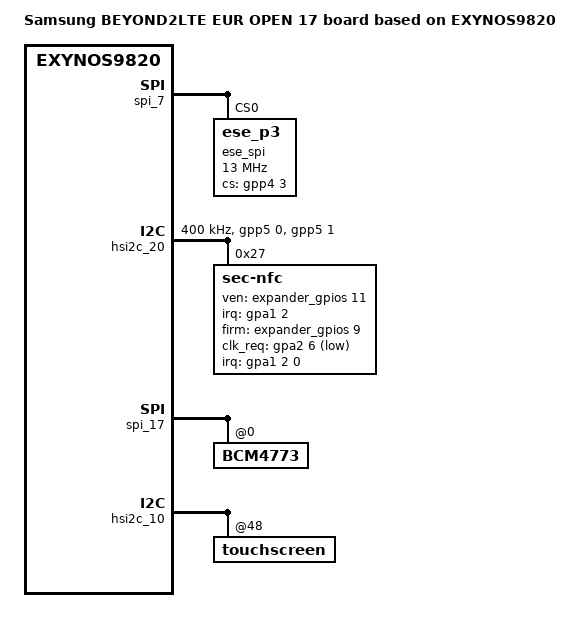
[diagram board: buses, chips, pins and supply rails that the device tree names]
/*
 * SAMSUNG EXYNOS9820 board device tree source
 *
 * Copyright (c) 2018 Samsung Electronics Co., Ltd.
 *		http://www.samsung.com
 *
 * This program is free software; you can redistribute it and/or modify
 * it under the terms of the GNU General Public License version 2 as
 * published by the Free Software Foundation.
*/

/dts-v1/;
/plugin/;
#include "exynos9820-sensorhub.dtsi"
#include "exynos9820-display-lcd.dtsi"
#include "battery_data_beyond2lte_3500mah.dtsi"
#include "exynos9820-beyond2lte_if-pmic-max77705.dtsi"
#include <dt-bindings/clock/exynos9820.h>
#include <dt-bindings/pci/pci.h>
#include "exynos9820-beyond2lte_camera.dtsi"
#include "exynos9820_evt0-beyond2lte_common.dtsi"
#include "exynos9820-beyond2lte_fingerprint_00.dtsi"
#include "exynos9820-beyond2lte_motor.dtsi"
#include "exynos9820-beyond2lte_optics-r03.dtsi"

/ {
	compatible = "samsung,BEYOND2LTE EUR OPEN 17", "samsung,EXYNOS9820";
	dtbo-hw_rev = <17>;
   	dtbo-hw_rev_end = <255>;

	fragment@model {
		target-path = "/";
		__overlay__ {
			#address-cells = <2>;
			#size-cells = <1>;

			model = "Samsung BEYOND2LTE EUR OPEN 17 board based on EXYNOS9820";

		}; /* end of __overlay__ */
	}; /* end of fragment */
}; /* end of root */

&pinctrl_0 {
	dp_hpd: dp_hpd {
		samsung,pins = "gpa2-7";
		samsung,pin-function = <2>; 
		samsung,pin-pud = <0>; 
		};
};  

&displayport {
	pinctrl-names = "default";
	pinctrl-0 = <&dp_hpd>;
};

&pinctrl_6 {
	spi7_bus_suspend: spi7-bus-suspend {
		samsung,pins = "gpp4-2", "gpp4-1", "gpp4-0";
		samsung,pin-function = <0>;	/* INPUT */
		samsung,pin-pud = <1>;		/* DOWN */
		samsung,pin-drv = <0>;
	};
	spi7_cs_suspend: spi7-cs-suspend {
		samsung,pins = "gpp4-3";
		samsung,pin-function = <0>;	/* INPUT */
		samsung,pin-pud = <1>;		/* DOWN */
		samsung,pin-drv = <0>;
	};
};

/* SPI USI_PERIC1_USI06_SPI */
&spi_7 {
	status = "okay";
	/delete-property/ pinctrl-names;
	/delete-property/ pinctrl-0;
	pinctrl-names = "ese_active", "ese_suspend";
	pinctrl-0 = <&spi7_bus &spi7_cs>;
	pinctrl-1 = <&spi7_bus_suspend &spi7_cs_suspend>;

	ese_spi@0 {
		compatible = "ese_p3";
		reg = <0>;
		spi-max-frequency = <13000000>;
		gpio-controller;
		#gpio-cells = <2>;

		p3-vdd-1p8= "VDD_ESE_1P8";

		clocks = <&clock GATE_USI06_USI>, <&clock DOUT_CLK_PERIC1_USI06_USI>;
		clock-names = "pclk", "sclk";
		ese_p3,cs-gpio = <&gpp4 3 0>;

		controller-data {
			samsung,spi-feedback-delay = <0>;
			samsung,spi-chip-select-mode = <0>;
		};
	};
};

&hsi2c_20 {
	gpios = <&gpp5 0 0 &gpp5 1 0>;
	status = "okay";
	clock-frequency = <400000>;

	sec-nfc@27 {
		compatible = "sec-nfc";
		reg = <0x27>;

		interrupts = <2 0 0>;
		interrupt-parent = <&gpa1>;

		sec-nfc,ven-gpio = <&expander_gpios 11 0>;
		sec-nfc,irq-gpio = <&gpa1 2 0>;
		sec-nfc,firm-gpio = <&expander_gpios 9 0>;
		sec-nfc,clk_req-gpio = <&gpa2 6 0xf>;
		sec-nfc,clk_use = <2>;
		sec-nfc,nfc_pvdd = "VDD_NFC_1P8";

		clocks = <&clock OSC_NFC>;
		clock-names = "oscclk_nfc";
		sec-nfc,nfc_ap_clk;
		sec-nfc,ldo_control;
	};
};

&spi_17 {
	BCM4773@0 {
		ssp-acc-position = <7>;
		ssp-mag-position = <7>;
		ssp-mag-array = /bits/ 8 <253 81 227 2 33 245 255 40 210 54 99 93 22 178 0 177 255 189 176 138 192
					252 206 156 13 155 175>;
		ssp-thermi-up = /bits/ 16 <2995 2964 2926 2883 2822 2750 2670 2564 2450 2320 2178 2020 1860 1700
					1540 1377 1218 1079 999 834 753 647 566>;
		ssp-thermi-sub = /bits/ 16 <2986 2953 2918 2873 2810 2741 2656 2552 2441 2312 2171 2015 1857 1698
					1537 1377 1217 1083 1003 845 758 654 575>;
	};
};

&hsi2c_10 {
	status = "okay";
	touchscreen@48 {
		sec,bringup = <1>;
	};
};
